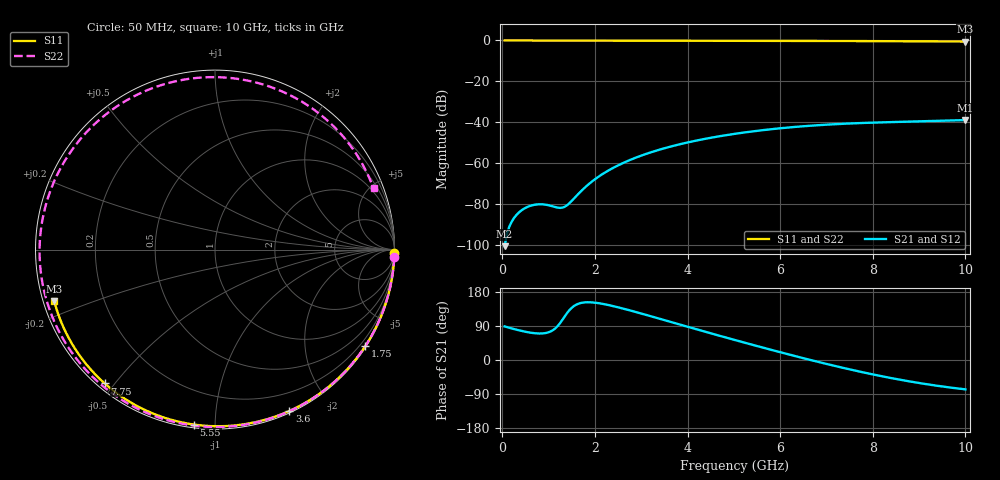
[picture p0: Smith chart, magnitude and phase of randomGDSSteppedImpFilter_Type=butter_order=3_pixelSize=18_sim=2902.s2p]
! freq	dB(S11)	phase(S11)	dB(S12)	phase(S12)
!  dB(S21)	phase(S21)	dB(S22)	phase(S22)
!S-par simulation data
#  GHz  S  DB  R 50
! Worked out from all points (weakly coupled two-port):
!   200 points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, 50 MHz to 10 GHz, reference 50 ohm
!   highest |S21| = -38.91 dB at 10 GHz (marker M1); lowest = -100.6 dB at 50 MHz (marker M2)
!   lowest |S11| = -0.5 dB at 10 GHz (marker M3), VSWR 32.75, Z = 1.56 - j7.86 ohm
!   |S11| at or under -10 dB: nowhere
!   |S22| runs from -0.5 to 0.0 dB; largest |S21 - S12| = 0
!   S11 on the Smith chart (normalised r, x): 50 MHz: open; 1.75 GHz: 0.03, -3.41; 3.6 GHz: 0.02, -1.56; 5.55 GHz: 0.02, -0.89; 7.75 GHz: 0.02, -0.47; 10 GHz: 0.03, -0.16
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0.05  -0.00 -1.0  -100.62 88.6  -100.62 88.6  -0.00 -2.5
0.35  -0.01 -6.6  -84.32 78.7  -84.32 78.7  -0.02 -17.0
0.65  -0.02 -12.3  -80.60 71.4  -80.60 71.4  -0.04 -31.3
1.05  -0.03 -19.8  -80.88 75.7  -80.88 75.7  -0.06 -49.8
1.4  -0.03 -26.3  -80.58 124.1  -80.58 124.1  -0.08 -65.4
1.45  -0.03 -27.2  -79.60 131.6  -79.60 131.6  -0.08 -67.5
1.75  -0.04 -32.7  -72.63 151.6  -72.63 151.6  -0.09 -80.1
2.05  -0.05 -38.2  -67.08 150.5  -67.08 150.5  -0.10 -92.2
2.45  -0.06 -45.3  -61.67 140.6  -61.67 140.6  -0.12 -107.4
2.95  -0.07 -54.1  -56.75 124.4  -56.75 124.4  -0.13 -125.2
3.4  -0.08 -61.9  -53.38 108.8  -53.38 108.8  -0.15 -140.3
3.6  -0.09 -65.3  -52.11 101.8  -52.11 101.8  -0.16 -146.7
4.3  -0.11 -76.9  -48.46 77.4  -48.46 77.4  -0.18 -168.4
5.05  -0.14 -89.0  -45.57 51.8  -45.57 51.8  -0.21 169.5
5.55  -0.16 -96.8  -44.07 35.2  -44.07 35.2  -0.24 154.9
6.1  -0.19 -105.2  -42.74 17.4  -42.74 17.4  -0.27 139.0
6.7  -0.22 -114.2  -41.63 -1.3  -41.63 -1.3  -0.30 121.4
7.25  -0.26 -122.3  -40.88 -17.7  -40.88 -17.7  -0.32 105.1
7.75  -0.30 -129.5  -40.38 -31.5  -40.38 -31.5  -0.35 90.0
8.35  -0.35 -138.2  -39.96 -46.6  -39.96 -46.6  -0.37 71.6
9.25  -0.44 -151.1  -39.46 -65.5  -39.46 -65.5  -0.42 43.8
10  -0.53 -162.1  -38.91 -77.4  -38.91 -77.4  -0.48 21.1
